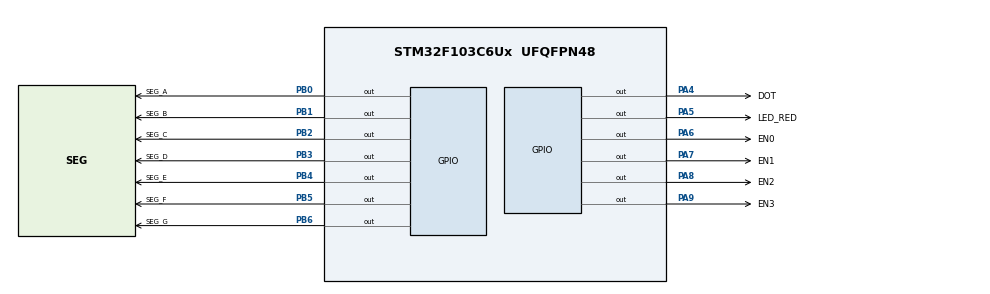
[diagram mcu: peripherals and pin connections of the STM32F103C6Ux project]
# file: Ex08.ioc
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Mcu.Family=STM32F1
Mcu.Name=STM32F103C6Ux
Mcu.Package=UFQFPN48
NVIC.PriorityGroup=NVIC_PRIORITYGROUP_4
NVIC.TIM2_IRQn=true\:0\:0\:false\:false\:true\:true\:true
PA4.GPIO_Label=DOT
PA4.Signal=GPIO_Output
PA5.GPIO_Label=LED_RED
PA5.Signal=GPIO_Output
PA6.GPIO_Label=EN0
PA6.Signal=GPIO_Output
PA7.GPIO_Label=EN1
PA7.Signal=GPIO_Output
PA8.GPIO_Label=EN2
PA8.Signal=GPIO_Output
PA9.GPIO_Label=EN3
PA9.Signal=GPIO_Output
PB0.GPIO_Label=SEG_A
PB0.Signal=GPIO_Output
PB1.GPIO_Label=SEG_B
PB1.Signal=GPIO_Output
PB2.GPIO_Label=SEG_C
PB2.Signal=GPIO_Output
PB3.GPIO_Label=SEG_D
PB3.Signal=GPIO_Output
PB4.GPIO_Label=SEG_E
PB4.Signal=GPIO_Output
PB5.GPIO_Label=SEG_F
PB5.Signal=GPIO_Output
PB6.GPIO_Label=SEG_G
PB6.Signal=GPIO_Output
ProjectManager.HeapSize=0x200
ProjectManager.StackSize=0x400
ProjectManager.TargetToolchain=STM32CubeIDE
RCC.APB1Freq_Value=8000000
RCC.APB2Freq_Value=8000000
TIM2.Period=9
TIM2.Prescaler=7999
VP_SYS_VS_ND.Mode=No_Debug
VP_TIM2_VS_ClockSourceINT.Mode=Internal
board=custom

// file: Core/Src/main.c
/* USER CODE BEGIN Header */
/**
  ******************************************************************************
  * @file           : main.c
  * @brief          : Main program body
  ******************************************************************************
  * @attention
  *
  * <h2><center>&copy; Copyright (c) 2022 STMicroelectronics.
  * All rights reserved.</center></h2>
  *
  * This software component is licensed by ST under BSD 3-Clause license,
  * the "License"; You may not use this file except in compliance with the
  * License. You may obtain a copy of the License at:
  *                        opensource.org/licenses/BSD-3-Clause
  *
  ******************************************************************************
  */
/* USER CODE END Header */
#include "main.h"

TIM_HandleTypeDef htim2;

void SystemClock_Config(void);
static void MX_GPIO_Init(void);
static void MX_TIM2_Init(void);

/* USER CODE BEGIN 0 */
void display7Seg(int num);
void update7Seg(int index);
void configLedSystem(int state);
void updateClockBuffer();
int hour = 15, minute = 8, second = 50;
int state = 0; //0: Led 0 ON - 1: Led 1 ON

int timer0_counter = 0, timer1_counter = 0;
int timer0_flag = 0, timer1_flag = 0;
int TIME_CYCLE = 10;

void setTimer0(int duration){
	timer0_counter = duration / TIME_CYCLE;
	timer0_flag = 0;
}

void setTimer1(int duration){
	timer1_counter = duration / TIME_CYCLE;
	timer1_flag = 0;
}

void timer_run(){
	if (timer0_counter > 0){
		timer0_counter--;
		if (timer0_counter <= 0){
			timer0_flag = 1;
		}
	}
	if (timer1_counter > 0){
		timer1_counter--;
		if (timer1_counter <= 0){
			timer1_flag = 1;
		}
	}
}
/* USER CODE END 0 */

int main(void)
{

  /* MCU Configuration--------------------------------------------------------*/

  /* Reset of all peripherals, Initializes the Flash interface and the Systick. */
  HAL_Init();

  /* Configure the system clock */
  SystemClock_Config();

  /* Initialize all configured peripherals */
  MX_GPIO_Init();
  MX_TIM2_Init();
  /* USER CODE BEGIN 2 */
  HAL_TIM_Base_Start_IT(&htim2);
  int trigger = 0;
  int index_led = 0;
  updateClockBuffer();
  setTimer0(100);
  setTimer1(100);
  /* USER CODE END 2 */

  /* Infinite loop */
  while (1)
  {

    /* USER CODE BEGIN 3 */
	if (timer0_flag == 1){
		setTimer0(1000);
		HAL_GPIO_TogglePin(LED_RED_GPIO_Port, LED_RED_Pin);
		HAL_GPIO_TogglePin(GPIOA, DOT_Pin);
	    second++;
		if (second >= 60){
			second = 0;
			minute++;
			trigger = 1;
		}
		if (minute >= 60){
			minute = 0;
			hour++;
		}
		if (hour >= 24){
			hour = 0;
		}
		if (trigger == 1) {
			updateClockBuffer();
			trigger = 0;
		}
	}
	if (timer1_flag == 1){
		setTimer1(250);
		update7Seg(index_led);
		index_led = (index_led + 1) % 4;
	}
  }
  /* USER CODE END 3 */
}

void SystemClock_Config(void)
{
  RCC_OscInitTypeDef RCC_OscInitStruct = {0};
  RCC_ClkInitTypeDef RCC_ClkInitStruct = {0};

  /** Initializes the RCC Oscillators according to the specified parameters
  * in the RCC_OscInitTypeDef structure.
  */
  RCC_OscInitStruct.OscillatorType = RCC_OSCILLATORTYPE_HSI;
  RCC_OscInitStruct.HSIState = RCC_HSI_ON;
  RCC_OscInitStruct.HSICalibrationValue = RCC_HSICALIBRATION_DEFAULT;
  RCC_OscInitStruct.PLL.PLLState = RCC_PLL_NONE;
  if (HAL_RCC_OscConfig(&RCC_OscInitStruct) != HAL_OK)
  {
    Error_Handler();
  }
  /** Initializes the CPU, AHB and APB buses clocks
  */
  RCC_ClkInitStruct.ClockType = RCC_CLOCKTYPE_HCLK|RCC_CLOCKTYPE_SYSCLK
                              |RCC_CLOCKTYPE_PCLK1|RCC_CLOCKTYPE_PCLK2;
  RCC_ClkInitStruct.SYSCLKSource = RCC_SYSCLKSOURCE_HSI;
  RCC_ClkInitStruct.AHBCLKDivider = RCC_SYSCLK_DIV1;
  RCC_ClkInitStruct.APB1CLKDivider = RCC_HCLK_DIV1;
  RCC_ClkInitStruct.APB2CLKDivider = RCC_HCLK_DIV1;

  if (HAL_RCC_ClockConfig(&RCC_ClkInitStruct, FLASH_LATENCY_0) != HAL_OK)
  {
    Error_Handler();
  }
}

static void MX_TIM2_Init(void)
{

  TIM_ClockConfigTypeDef sClockSourceConfig = {0};
  TIM_MasterConfigTypeDef sMasterConfig = {0};

  htim2.Instance = TIM2;
  htim2.Init.Prescaler = 7999;
  htim2.Init.CounterMode = TIM_COUNTERMODE_UP;
  htim2.Init.Period = 9;
  htim2.Init.ClockDivision = TIM_CLOCKDIVISION_DIV1;
  htim2.Init.AutoReloadPreload = TIM_AUTORELOAD_PRELOAD_DISABLE;
  if (HAL_TIM_Base_Init(&htim2) != HAL_OK)
  {
    Error_Handler();
  }
  sClockSourceConfig.ClockSource = TIM_CLOCKSOURCE_INTERNAL;
  if (HAL_TIM_ConfigClockSource(&htim2, &sClockSourceConfig) != HAL_OK)
  {
    Error_Handler();
  }
  sMasterConfig.MasterOutputTrigger = TIM_TRGO_RESET;
  sMasterConfig.MasterSlaveMode = TIM_MASTERSLAVEMODE_DISABLE;
  if (HAL_TIMEx_MasterConfigSynchronization(&htim2, &sMasterConfig) != HAL_OK)
  {
    Error_Handler();
  }

}

static void MX_GPIO_Init(void)
{
  GPIO_InitTypeDef GPIO_InitStruct = {0};

  /* GPIO Ports Clock Enable */
  __HAL_RCC_GPIOA_CLK_ENABLE();
  __HAL_RCC_GPIOB_CLK_ENABLE();

  /*Configure GPIO pin Output Level */
  HAL_GPIO_WritePin(GPIOA, DOT_Pin|LED_RED_Pin|EN0_Pin|EN1_Pin
                          |EN2_Pin|EN3_Pin, GPIO_PIN_RESET);

  /*Configure GPIO pin Output Level */
  HAL_GPIO_WritePin(GPIOB, SEG_A_Pin|SEG_B_Pin|SEG_C_Pin|SEG_D_Pin
                          |SEG_E_Pin|SEG_F_Pin|SEG_G_Pin, GPIO_PIN_RESET);

  /*Configure GPIO pins : DOT_Pin LED_RED_Pin EN0_Pin EN1_Pin
                           EN2_Pin EN3_Pin */
  GPIO_InitStruct.Pin = DOT_Pin|LED_RED_Pin|EN0_Pin|EN1_Pin
                          |EN2_Pin|EN3_Pin;
  GPIO_InitStruct.Mode = GPIO_MODE_OUTPUT_PP;
  GPIO_InitStruct.Pull = GPIO_NOPULL;
  GPIO_InitStruct.Speed = GPIO_SPEED_FREQ_LOW;
  HAL_GPIO_Init(GPIOA, &GPIO_InitStruct);

  /*Configure GPIO pins : SEG_A_Pin SEG_B_Pin SEG_C_Pin SEG_D_Pin
                           SEG_E_Pin SEG_F_Pin SEG_G_Pin */
  GPIO_InitStruct.Pin = SEG_A_Pin|SEG_B_Pin|SEG_C_Pin|SEG_D_Pin
                          |SEG_E_Pin|SEG_F_Pin|SEG_G_Pin;
  GPIO_InitStruct.Mode = GPIO_MODE_OUTPUT_PP;
  GPIO_InitStruct.Pull = GPIO_NOPULL;
  GPIO_InitStruct.Speed = GPIO_SPEED_FREQ_LOW;
  HAL_GPIO_Init(GPIOB, &GPIO_InitStruct);

}

/* USER CODE BEGIN 4 */
void display7Seg(int num){
	switch (num){
		case 0:{ // display 0 using leds: a, b, c, d, e, f
			HAL_GPIO_WritePin(GPIOB, SEG_A_Pin | SEG_B_Pin | SEG_C_Pin |
									SEG_D_Pin | SEG_E_Pin | SEG_F_Pin, 0);
			HAL_GPIO_WritePin(GPIOB, SEG_G_Pin, 1);
			break;
		}
		case 1:{ // display 1 using leds: b, c
			HAL_GPIO_WritePin(GPIOB, SEG_B_Pin | SEG_C_Pin, 0);
			HAL_GPIO_WritePin(GPIOB, SEG_A_Pin | SEG_D_Pin | SEG_E_Pin |
									SEG_F_Pin | SEG_G_Pin, 1);
			break;
		}
		case 2:{ // display 2 using leds: a, b, d, e, g
			HAL_GPIO_WritePin(GPIOB, SEG_A_Pin | SEG_B_Pin | SEG_D_Pin |
									SEG_E_Pin | SEG_G_Pin, 0);
			HAL_GPIO_WritePin(GPIOB, SEG_C_Pin | SEG_F_Pin, 1);
			break;
		}
		case 3:{ // display 3 using leds: a, b, c, d, g
			HAL_GPIO_WritePin(GPIOB, SEG_A_Pin | SEG_B_Pin | SEG_C_Pin |
									SEG_D_Pin | SEG_G_Pin, 0);
			HAL_GPIO_WritePin(GPIOB, SEG_E_Pin | SEG_F_Pin, 1);
			break;
		}
		case 4:{ // display 4 using leds: b, c, f, g
			HAL_GPIO_WritePin(GPIOB, SEG_B_Pin | SEG_C_Pin | SEG_F_Pin |
									SEG_G_Pin, 0);
			HAL_GPIO_WritePin(GPIOB, SEG_A_Pin | SEG_D_Pin | SEG_E_Pin, 1);
			break;
		}
		case 5:{ // display 5 using leds: a, c, d, f, g
			HAL_GPIO_WritePin(GPIOB, SEG_A_Pin | SEG_C_Pin | SEG_D_Pin |
									SEG_F_Pin | SEG_G_Pin, 0);
			HAL_GPIO_WritePin(GPIOB, SEG_B_Pin | SEG_E_Pin, 1);
			break;
		}
		case 6:{ // display 6 using leds: a, c, d, e, f, g
			HAL_GPIO_WritePin(GPIOB, SEG_A_Pin | SEG_C_Pin | SEG_D_Pin |
									SEG_E_Pin | SEG_F_Pin | SEG_G_Pin, 0);
			HAL_GPIO_WritePin(GPIOB, SEG_B_Pin, 1);
			break;
		}
		case 7:{ // diplay 7 using leds: a, b, c
			HAL_GPIO_WritePin(GPIOB, SEG_A_Pin | SEG_B_Pin | SEG_C_Pin, 0);
			HAL_GPIO_WritePin(GPIOB, SEG_D_Pin | SEG_E_Pin | SEG_F_Pin |
									SEG_G_Pin, 1);
			break;
		}
		case 8:{ // display 8 using leds: a, b, c, d, e, f, g
			HAL_GPIO_WritePin(GPIOB, SEG_A_Pin | SEG_B_Pin | SEG_C_Pin |
									SEG_D_Pin | SEG_E_Pin | SEG_F_Pin |
									SEG_G_Pin, 0);
			break;
		}
		case 9:{ // display 9 using leds: a, b, c, d, f, g
			HAL_GPIO_WritePin(GPIOB, SEG_A_Pin | SEG_B_Pin | SEG_C_Pin |
									SEG_D_Pin | SEG_F_Pin | SEG_G_Pin, 0);
			HAL_GPIO_WritePin(GPIOB, SEG_E_Pin, 1);
			break;
		}
	}
}

const int MAX_LED = 4;
int led_buffer[4] = {0, 0, 0, 0};
void update7Seg(int index){
	switch (index){
		case 0:{
			HAL_GPIO_WritePin(GPIOA, EN0_Pin, RESET);
			HAL_GPIO_WritePin(GPIOA, EN1_Pin | EN2_Pin | EN3_Pin, SET);
			display7Seg(led_buffer[index]);
			break;
		}
		case 1:{
			HAL_GPIO_WritePin(GPIOA, EN1_Pin, RESET);
			HAL_GPIO_WritePin(GPIOA, EN0_Pin | EN2_Pin | EN3_Pin, SET);
			display7Seg(led_buffer[index]);
			break;
		}
		case 2:{
			HAL_GPIO_WritePin(GPIOA, EN2_Pin, RESET);
			HAL_GPIO_WritePin(GPIOA, EN1_Pin | EN0_Pin | EN3_Pin, SET);
			display7Seg(led_buffer[index]);
			break;
		}
		case 3:{
			HAL_GPIO_WritePin(GPIOA, EN3_Pin, RESET);
			HAL_GPIO_WritePin(GPIOA, EN1_Pin | EN2_Pin | EN0_Pin, SET);
			display7Seg(led_buffer[index]);
			break;
		}
		default: break;
	}
}

void updateClockBuffer(){
	led_buffer[0] = hour / 10;
	led_buffer[1] = hour % 10;
	led_buffer[2] = minute / 10;
	led_buffer[3] = minute % 10;
}

void HAL_TIM_PeriodElapsedCallback(TIM_HandleTypeDef *htim){
	timer_run();
}
/* USER CODE END 4 */

void Error_Handler(void)
{
  __disable_irq();
  while (1)
  {
  }
}

/************************ (C) COPYRIGHT STMicroelectronics *****END OF FILE****/
